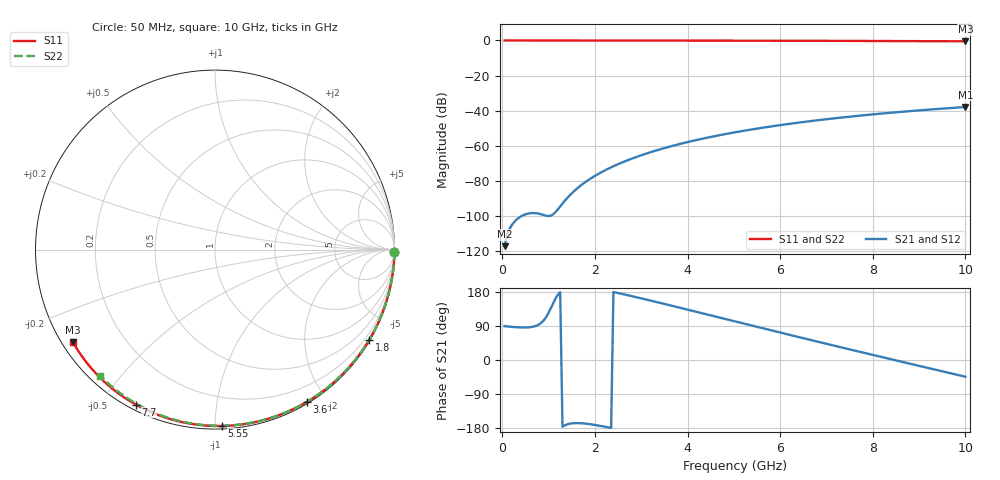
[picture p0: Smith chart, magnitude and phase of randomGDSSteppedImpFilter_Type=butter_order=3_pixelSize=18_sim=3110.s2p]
! freq	dB(S11)	phase(S11)	dB(S12)	phase(S12)
!  dB(S21)	phase(S21)	dB(S22)	phase(S22)
!S-par simulation data
#  GHz  S  DB  R 50
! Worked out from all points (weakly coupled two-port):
!   200 points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, 50 MHz to 10 GHz, reference 50 ohm
!   highest |S21| = -37.87 dB at 10 GHz (marker M1); lowest = -117.0 dB at 50 MHz (marker M2)
!   lowest |S11| = -0.5 dB at 10 GHz (marker M3), VSWR 35.25, Z = 1.54 - j14.9 ohm
!   |S11| at or under -10 dB: nowhere
!   |S22| runs from -0.4 to 0.0 dB; largest |S21 - S12| = 0
!   S11 on the Smith chart (normalised r, x): 50 MHz: open; 1.8 GHz: 0.03, -3.70; 3.6 GHz: 0.02, -1.77; 5.55 GHz: 0.02, -1.04; 7.7 GHz: 0.02, -0.61; 10 GHz: 0.03, -0.30
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0.05  -0.00 -0.9  -116.99 89.3  -116.99 89.3  -0.00 -0.8
0.45  -0.01 -7.7  -99.41 85.6  -99.41 85.6  -0.01 -6.9
0.9  -0.02 -15.3  -99.33 105.3  -99.33 105.3  -0.02 -13.7
1.3  -0.03 -22.0  -92.74 -176.0  -92.74 -176.0  -0.02 -19.7
1.75  -0.04 -29.4  -81.38 -167.3  -81.38 -167.3  -0.03 -26.4
1.8  -0.04 -30.3  -80.43 -167.9  -80.43 -167.9  -0.03 -27.1
1.85  -0.04 -31.1  -79.52 -168.6  -79.52 -168.6  -0.04 -27.8
2.05  -0.04 -34.4  -76.25 -172.3  -76.25 -172.3  -0.04 -30.8
2.2  -0.05 -36.8  -74.11 -175.7  -74.11 -175.7  -0.04 -33.0
2.55  -0.05 -42.5  -69.80 175.4  -69.80 175.4  -0.05 -38.1
2.95  -0.06 -48.8  -65.75 164.1  -65.75 164.1  -0.06 -43.8
3.4  -0.07 -55.9  -61.96 151.0  -61.96 151.0  -0.07 -50.2
3.6  -0.08 -59.0  -60.48 145.0  -60.48 145.0  -0.07 -53.0
4.3  -0.10 -69.6  -56.00 123.9  -56.00 123.9  -0.09 -62.6
5.05  -0.12 -80.6  -52.12 101.1  -52.12 101.1  -0.11 -72.7
5.55  -0.14 -87.8  -49.92 86.0  -49.92 86.0  -0.13 -79.2
6.1  -0.17 -95.5  -47.78 69.5  -47.78 69.5  -0.15 -86.2
6.7  -0.20 -103.7  -45.73 51.6  -45.73 51.6  -0.18 -93.6
7.7  -0.27 -117.0  -42.81 22.1  -42.81 22.1  -0.24 -105.7
8.35  -0.32 -125.5  -41.20 3.2  -41.20 3.2  -0.29 -113.4
9.2  -0.40 -136.5  -39.35 -21.2  -39.35 -21.2  -0.36 -123.2
10  -0.49 -146.9  -37.87 -44.2  -37.87 -44.2  -0.45 -132.3
